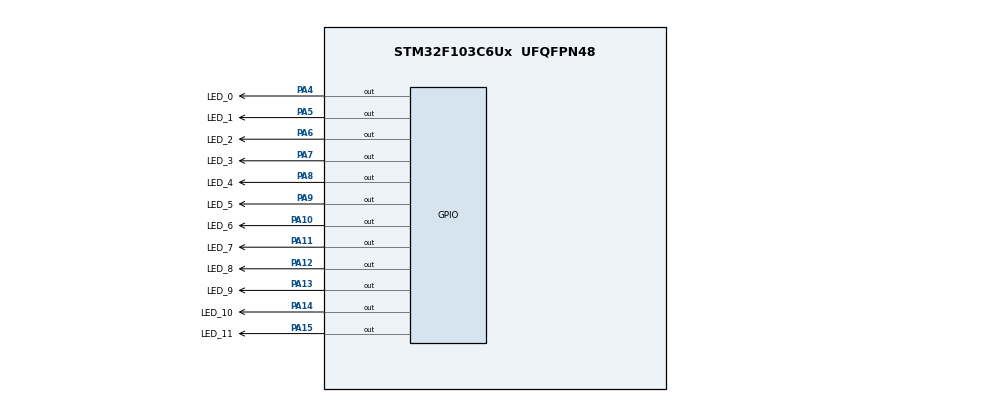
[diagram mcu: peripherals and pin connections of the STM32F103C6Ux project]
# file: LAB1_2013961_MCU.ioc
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Mcu.Family=STM32F1
Mcu.Name=STM32F103C6Ux
Mcu.Package=UFQFPN48
NVIC.PriorityGroup=NVIC_PRIORITYGROUP_4
PA10.GPIO_Label=LED_6
PA10.Signal=GPIO_Output
PA11.GPIO_Label=LED_7
PA11.Signal=GPIO_Output
PA12.GPIO_Label=LED_8
PA12.Signal=GPIO_Output
PA13.GPIO_Label=LED_9
PA13.Signal=GPIO_Output
PA14.GPIO_Label=LED_10
PA14.Signal=GPIO_Output
PA15.GPIO_Label=LED_11
PA15.Signal=GPIO_Output
PA4.GPIO_Label=LED_0
PA4.Signal=GPIO_Output
PA5.GPIO_Label=LED_1
PA5.Signal=GPIO_Output
PA6.GPIO_Label=LED_2
PA6.Signal=GPIO_Output
PA7.GPIO_Label=LED_3
PA7.Signal=GPIO_Output
PA8.GPIO_Label=LED_4
PA8.Signal=GPIO_Output
PA9.GPIO_Label=LED_5
PA9.Signal=GPIO_Output
ProjectManager.HeapSize=0x200
ProjectManager.StackSize=0x400
ProjectManager.TargetToolchain=STM32CubeIDE
RCC.APB1Freq_Value=8000000
RCC.APB2Freq_Value=8000000
VP_SYS_VS_ND.Mode=No_Debug
board=custom

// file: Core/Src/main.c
/* USER CODE BEGIN Header */
/**
  ******************************************************************************
  * @file           : main.c
  * @brief          : Main program body
  ******************************************************************************
  * @attention
  *
  * <h2><center>&copy; Copyright (c) 2022 STMicroelectronics.
  * All rights reserved.</center></h2>
  *
  * This software component is licensed by ST under BSD 3-Clause license,
  * the "License"; You may not use this file except in compliance with the
  * License. You may obtain a copy of the License at:
  *                        opensource.org/licenses/BSD-3-Clause
  *
  ******************************************************************************
  */
/* USER CODE END Header */
#include "main.h"

void SystemClock_Config(void);
static void MX_GPIO_Init(void);

/* USER CODE BEGIN 0 */
void clearAllClock(void);
void setNumberOnClock(int num);
void clearNumberOnClock(int num);
/* USER CODE END 0 */

int main(void)
{

  /* MCU Configuration--------------------------------------------------------*/

  /* Reset of all peripherals, Initializes the Flash interface and the Systick. */
  HAL_Init();

  /* Configure the system clock */
  SystemClock_Config();

  /* Initialize all configured peripherals */
  MX_GPIO_Init();
  // cycle la bien chu ki cua de kim giay tien len 1
 	int cycle = 1;
 	// bien dem cho kim giay, kim phut, kim gio
 	int second = 0;
 	int minute = 0;
 	int hour = 0;
 	int counter  = cycle;

 	// trang thai ban dau cua he thong

 	HAL_GPIO_WritePin(LED_0_GPIO_Port, LED_0_Pin, GPIO_PIN_SET);
 	HAL_GPIO_WritePin(LED_1_GPIO_Port, LED_1_Pin, GPIO_PIN_SET);
 	HAL_GPIO_WritePin(LED_2_GPIO_Port, LED_2_Pin, GPIO_PIN_SET);
 	HAL_GPIO_WritePin(LED_3_GPIO_Port, LED_3_Pin, GPIO_PIN_SET);
 	HAL_GPIO_WritePin(LED_4_GPIO_Port, LED_4_Pin, GPIO_PIN_SET);
 	HAL_GPIO_WritePin(LED_5_GPIO_Port, LED_5_Pin, GPIO_PIN_SET);
 	HAL_GPIO_WritePin(LED_6_GPIO_Port, LED_6_Pin, GPIO_PIN_SET);
 	HAL_GPIO_WritePin(LED_7_GPIO_Port, LED_7_Pin, GPIO_PIN_SET);
 	HAL_GPIO_WritePin(LED_8_GPIO_Port, LED_8_Pin, GPIO_PIN_SET);
 	HAL_GPIO_WritePin(LED_9_GPIO_Port, LED_9_Pin, GPIO_PIN_SET);
 	HAL_GPIO_WritePin(LED_10_GPIO_Port, LED_10_Pin, GPIO_PIN_SET);
 	HAL_GPIO_WritePin(LED_11_GPIO_Port, LED_11_Pin, GPIO_PIN_SET);
   /* USER CODE END 2 */

   /* Infinite loop */
   /* USER CODE BEGIN WHILE */
   while (1)
   {
 	  //cu sau cycle thi kim giay se thay doi tu vi tri i - 1 den vi tri i
 	  // de lam nhu vay thi se phai tat den o vi tri i - 1 neu khong co bong den hien thi cua kim phut va kim gio,
	  // neu i -1 dang duoc bieu dien bang kim phut hoac gio thi ta se ko duoc phep tat den.
 	  // sau do ta se bat bong den tai vi tri i

 	 // thuc hien tat bong den o vi tri i - 1
 	  switch(second){
 	  	  // xet truong hop tai bien khi kim giay o vi tri 0
 	 	  case 0:
 	 		  //neu truoc do bong den o vi tri i - 1 ko duoc bat boi kim phut va kim giay thi ta se tat bong den o vi tri i - 1
 	 		  if(minute != 11 && hour != 11) clearNumberOnClock(11);
 	 		  break;
 	 	// xet truong hop tai bien khi kim giay o vi tri 0
 	 	  default:
 	 		  if(second - minute != 1 && second - hour != 1) clearNumberOnClock(second-1);
 	 		  break;
 	 	  }
 	  //bat den ơ vi tri i
 	 	  setNumberOnClock(second);

 	 	  // thuc hien nhu kim giay doi voi kim phut va kim gio
 	 	  switch(minute){
 	 	  	  case 0:
 	 	  		  if(second != 11 && hour != 11) clearNumberOnClock(11);
 	 	  		  break;
 	 	  	  default:
 	 	  		  if(minute - second != 1 && minute - hour != 1) clearNumberOnClock(minute - 1);
 	 	  		  break;
 	 	  }
 	 	 setNumberOnClock(minute);

 	 	 switch(hour){
 			  case 0:
 				  if(second != 11 && minute != 11) clearNumberOnClock(11);
 				  break;
 			  default:
 				  if(hour - second != 1 && hour - minute != 1) clearNumberOnClock(hour - 1);
 				  break;
 	 	 }
 	 	 setNumberOnClock(hour);

 	 	 // giam bien dem counter
 	 	 counter--;
 	 	 // bien dem counter = 0 co nghia la kim giay se tang 1 bac tu vi tri i sang i + 1
 	 	  if(counter == 0){
 	 		  //reset lai bien dem = cycle
 	 		  counter = cycle;
 	 		  second++;
 	 		  //kim giay o vi tri 11 se tro lai vi tri 0 dong thoi tang kim phut len 1(tuc kim giay xoay duoc 1 vong)
 	 		  if(second >= 12) {

 	 			 second = 0;
 	 			 minute++;
 	 			 //tuong tu kim phut o vi tri 11 se tro lai vi tri 0 va tang kim gio len 1
 	 			 if(minute >= 12){
 	 				 minute = 0;
 	 				 hour++;
 	 				 // kim gio o vi tri 11 se tro lai vi tri 0
 					  if(hour >= 12){
 						  hour = 0;
 					  }
 	 			 }
 	 		  }
 	 	  }

     /* USER CODE END WHILE */

     /* USER CODE BEGIN 3 */
 	   HAL_Delay(100);
   }
   /* USER CODE END 3 */
}

void SystemClock_Config(void)
{
  RCC_OscInitTypeDef RCC_OscInitStruct = {0};
  RCC_ClkInitTypeDef RCC_ClkInitStruct = {0};

  /** Initializes the RCC Oscillators according to the specified parameters
  * in the RCC_OscInitTypeDef structure.
  */
  RCC_OscInitStruct.OscillatorType = RCC_OSCILLATORTYPE_HSI;
  RCC_OscInitStruct.HSIState = RCC_HSI_ON;
  RCC_OscInitStruct.HSICalibrationValue = RCC_HSICALIBRATION_DEFAULT;
  RCC_OscInitStruct.PLL.PLLState = RCC_PLL_NONE;
  if (HAL_RCC_OscConfig(&RCC_OscInitStruct) != HAL_OK)
  {
    Error_Handler();
  }
  /** Initializes the CPU, AHB and APB buses clocks
  */
  RCC_ClkInitStruct.ClockType = RCC_CLOCKTYPE_HCLK|RCC_CLOCKTYPE_SYSCLK
                              |RCC_CLOCKTYPE_PCLK1|RCC_CLOCKTYPE_PCLK2;
  RCC_ClkInitStruct.SYSCLKSource = RCC_SYSCLKSOURCE_HSI;
  RCC_ClkInitStruct.AHBCLKDivider = RCC_SYSCLK_DIV1;
  RCC_ClkInitStruct.APB1CLKDivider = RCC_HCLK_DIV1;
  RCC_ClkInitStruct.APB2CLKDivider = RCC_HCLK_DIV1;

  if (HAL_RCC_ClockConfig(&RCC_ClkInitStruct, FLASH_LATENCY_0) != HAL_OK)
  {
    Error_Handler();
  }
}

static void MX_GPIO_Init(void)
{
  GPIO_InitTypeDef GPIO_InitStruct = {0};

  /* GPIO Ports Clock Enable */
  __HAL_RCC_GPIOA_CLK_ENABLE();

  /*Configure GPIO pin Output Level */
  HAL_GPIO_WritePin(GPIOA, LED_0_Pin|LED_1_Pin|LED_2_Pin|LED_3_Pin
                          |LED_4_Pin|LED_5_Pin|LED_6_Pin|LED_7_Pin
                          |LED_8_Pin|LED_9_Pin|LED_10_Pin|LED_11_Pin, GPIO_PIN_RESET);

  /*Configure GPIO pins : LED_0_Pin LED_1_Pin LED_2_Pin LED_3_Pin
                           LED_4_Pin LED_5_Pin LED_6_Pin LED_7_Pin
                           LED_8_Pin LED_9_Pin LED_10_Pin LED_11_Pin */
  GPIO_InitStruct.Pin = LED_0_Pin|LED_1_Pin|LED_2_Pin|LED_3_Pin
                          |LED_4_Pin|LED_5_Pin|LED_6_Pin|LED_7_Pin
                          |LED_8_Pin|LED_9_Pin|LED_10_Pin|LED_11_Pin;
  GPIO_InitStruct.Mode = GPIO_MODE_OUTPUT_PP;
  GPIO_InitStruct.Pull = GPIO_NOPULL;
  GPIO_InitStruct.Speed = GPIO_SPEED_FREQ_LOW;
  HAL_GPIO_Init(GPIOA, &GPIO_InitStruct);

}

/* USER CODE BEGIN 4 */

void clearAllClock(void){
	  HAL_GPIO_WritePin(LED_0_GPIO_Port, LED_0_Pin, GPIO_PIN_SET);
	  HAL_GPIO_WritePin(LED_1_GPIO_Port, LED_1_Pin, GPIO_PIN_SET);
	  HAL_GPIO_WritePin(LED_2_GPIO_Port, LED_2_Pin, GPIO_PIN_SET);
	  HAL_GPIO_WritePin(LED_3_GPIO_Port, LED_3_Pin, GPIO_PIN_SET);
	  HAL_GPIO_WritePin(LED_4_GPIO_Port, LED_4_Pin, GPIO_PIN_SET);
	  HAL_GPIO_WritePin(LED_5_GPIO_Port, LED_5_Pin, GPIO_PIN_SET);
	  HAL_GPIO_WritePin(LED_6_GPIO_Port, LED_6_Pin, GPIO_PIN_SET);
	  HAL_GPIO_WritePin(LED_7_GPIO_Port, LED_7_Pin, GPIO_PIN_SET);
	  HAL_GPIO_WritePin(LED_8_GPIO_Port, LED_8_Pin, GPIO_PIN_SET);
	  HAL_GPIO_WritePin(LED_9_GPIO_Port, LED_9_Pin, GPIO_PIN_SET);
	  HAL_GPIO_WritePin(LED_10_GPIO_Port, LED_10_Pin, GPIO_PIN_SET);
	  HAL_GPIO_WritePin(LED_11_GPIO_Port, LED_11_Pin, GPIO_PIN_SET);
}

void setNumberOnClock(int num){
	switch(num){
		  case 0:
			  HAL_GPIO_WritePin(LED_0_GPIO_Port, LED_0_Pin, GPIO_PIN_RESET);
			  break;
		  case 1:
			  HAL_GPIO_WritePin(LED_1_GPIO_Port, LED_1_Pin, GPIO_PIN_RESET);
			  break;
		  case 2:
			  HAL_GPIO_WritePin(LED_2_GPIO_Port, LED_2_Pin, GPIO_PIN_RESET);
			  break;
		  case 3:
			  HAL_GPIO_WritePin(LED_3_GPIO_Port, LED_3_Pin, GPIO_PIN_RESET);
			  break;
		  case 4:
			  HAL_GPIO_WritePin(LED_4_GPIO_Port, LED_4_Pin, GPIO_PIN_RESET);
			  break;
		  case 5:
			  HAL_GPIO_WritePin(LED_5_GPIO_Port, LED_5_Pin, GPIO_PIN_RESET);
			  break;
		  case 6:
			  HAL_GPIO_WritePin(LED_6_GPIO_Port, LED_6_Pin, GPIO_PIN_RESET);
			  break;
		  case 7:
			  HAL_GPIO_WritePin(LED_7_GPIO_Port, LED_7_Pin, GPIO_PIN_RESET);
			  break;
		  case 8:
			  HAL_GPIO_WritePin(LED_8_GPIO_Port, LED_8_Pin, GPIO_PIN_RESET);
			  break;
		  case 9:
			  HAL_GPIO_WritePin(LED_9_GPIO_Port, LED_9_Pin, GPIO_PIN_RESET);
			  break;
		  case 10:
			  HAL_GPIO_WritePin(LED_10_GPIO_Port, LED_10_Pin, GPIO_PIN_RESET);
			  break;
		  case 11:
			  HAL_GPIO_WritePin(LED_11_GPIO_Port, LED_11_Pin, GPIO_PIN_RESET);
			  break;
		  }
}
void clearNumberOnClock(int num){
	switch(num){
		  case 0:
			  HAL_GPIO_WritePin(LED_0_GPIO_Port, LED_0_Pin, GPIO_PIN_SET);
			  break;
		  case 1:
			  HAL_GPIO_WritePin(LED_1_GPIO_Port, LED_1_Pin, GPIO_PIN_SET);
			  break;
		  case 2:
			  HAL_GPIO_WritePin(LED_2_GPIO_Port, LED_2_Pin, GPIO_PIN_SET);
			  break;
		  case 3:
			  HAL_GPIO_WritePin(LED_3_GPIO_Port, LED_3_Pin, GPIO_PIN_SET);
			  break;
		  case 4:
			  HAL_GPIO_WritePin(LED_4_GPIO_Port, LED_4_Pin, GPIO_PIN_SET);
			  break;
		  case 5:
			  HAL_GPIO_WritePin(LED_5_GPIO_Port, LED_5_Pin, GPIO_PIN_SET);
			  break;
		  case 6:
			  HAL_GPIO_WritePin(LED_6_GPIO_Port, LED_6_Pin, GPIO_PIN_SET);
			  break;
		  case 7:
			  HAL_GPIO_WritePin(LED_7_GPIO_Port, LED_7_Pin, GPIO_PIN_SET);
			  break;
		  case 8:
			  HAL_GPIO_WritePin(LED_8_GPIO_Port, LED_8_Pin, GPIO_PIN_SET);
			  break;
		  case 9:
			  HAL_GPIO_WritePin(LED_9_GPIO_Port, LED_9_Pin, GPIO_PIN_SET);
			  break;
		  case 10:
			  HAL_GPIO_WritePin(LED_10_GPIO_Port, LED_10_Pin, GPIO_PIN_SET);
			  break;
		  case 11:
			  HAL_GPIO_WritePin(LED_11_GPIO_Port, LED_11_Pin, GPIO_PIN_SET);
			  break;
		  }
}
/* USER CODE END 4 */

void Error_Handler(void)
{
  __disable_irq();
  while (1)
  {
  }
}

/************************ (C) COPYRIGHT STMicroelectronics *****END OF FILE****/
